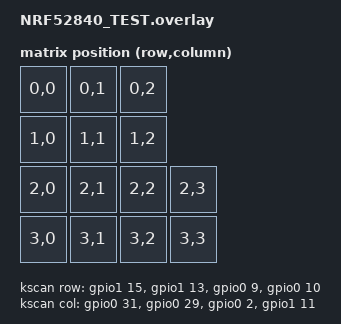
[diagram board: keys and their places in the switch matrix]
#include <dt-bindings/zmk/matrix_transform.h>
#include <dt-bindings/led/led.h>
#include "NRF52840_TEST-layouts.dtsi"

/ {
	chosen {
		zmk,kscan = &kscan;
		// zmk,matrix_transform = &transform;
		zmk,underglow = &led_strip;
		zmk,physical-layout = &physical_layout0;
	};

	transform: transform {
		compatible = "zmk,matrix-transform";
		columns = <4>;
		rows = <4>;
		map = <
			RC(0, 0) RC(0, 1) RC(0, 2)
			RC(1, 0) RC(1, 1) RC(1, 2)
			RC(2, 0) RC(2, 1) RC(2, 2) RC(2, 3)
			RC(3, 0) RC(3, 1) RC(3, 2) RC(3, 3)
		>;
	};

	kscan: kscan {
		compatible = "zmk,kscan-gpio-matrix";
		diode-direction = "col2row";
		row-gpios
		= <&gpio1 15 (GPIO_ACTIVE_HIGH | GPIO_PULL_DOWN)>
		, <&gpio1 13 (GPIO_ACTIVE_HIGH | GPIO_PULL_DOWN)>
		, <&gpio0 9  (GPIO_ACTIVE_HIGH | GPIO_PULL_DOWN)>
		, <&gpio0 10 (GPIO_ACTIVE_HIGH | GPIO_PULL_DOWN)>
		;
		col-gpios
		= <&gpio0 31 GPIO_ACTIVE_HIGH>
		, <&gpio0 29 GPIO_ACTIVE_HIGH>
		, <&gpio0 2  GPIO_ACTIVE_HIGH>
		, <&gpio1 11 GPIO_ACTIVE_HIGH>
		;
	};
};
zephyr_udc0: &usbd {
    status = "okay";
};
&pinctrl {
    spi3_default: spi3_default {
        group1 {
            psels = <NRF_PSEL(SPIM_MOSI, 0, 6)>;
        };
    };

    spi3_sleep: spi3_sleep {
        group1 {
            psels = <NRF_PSEL(SPIM_MOSI, 0, 6)>;
            low-power-enable;
        };
    };
};

&spi3 {
    compatible = "nordic,nrf-spim";
    status = "okay";

    pinctrl-0 = <&spi3_default>;
    pinctrl-1 = <&spi3_sleep>;
    pinctrl-names = "default", "sleep";

    led_strip: ws2812@0 {
        compatible = "worldsemi,ws2812-spi";

        /* SPI */
        reg = <0>; /* ignored, but necessary for SPI bindings */
        spi-max-frequency = <4000000>;

        /* WS2812 */
        chain-length = <14>; /* arbitrary; change at will */
        spi-one-frame = <0x70>;
        spi-zero-frame = <0x40>;

        color-mapping = <LED_COLOR_ID_GREEN LED_COLOR_ID_RED LED_COLOR_ID_BLUE>;
    };
};
